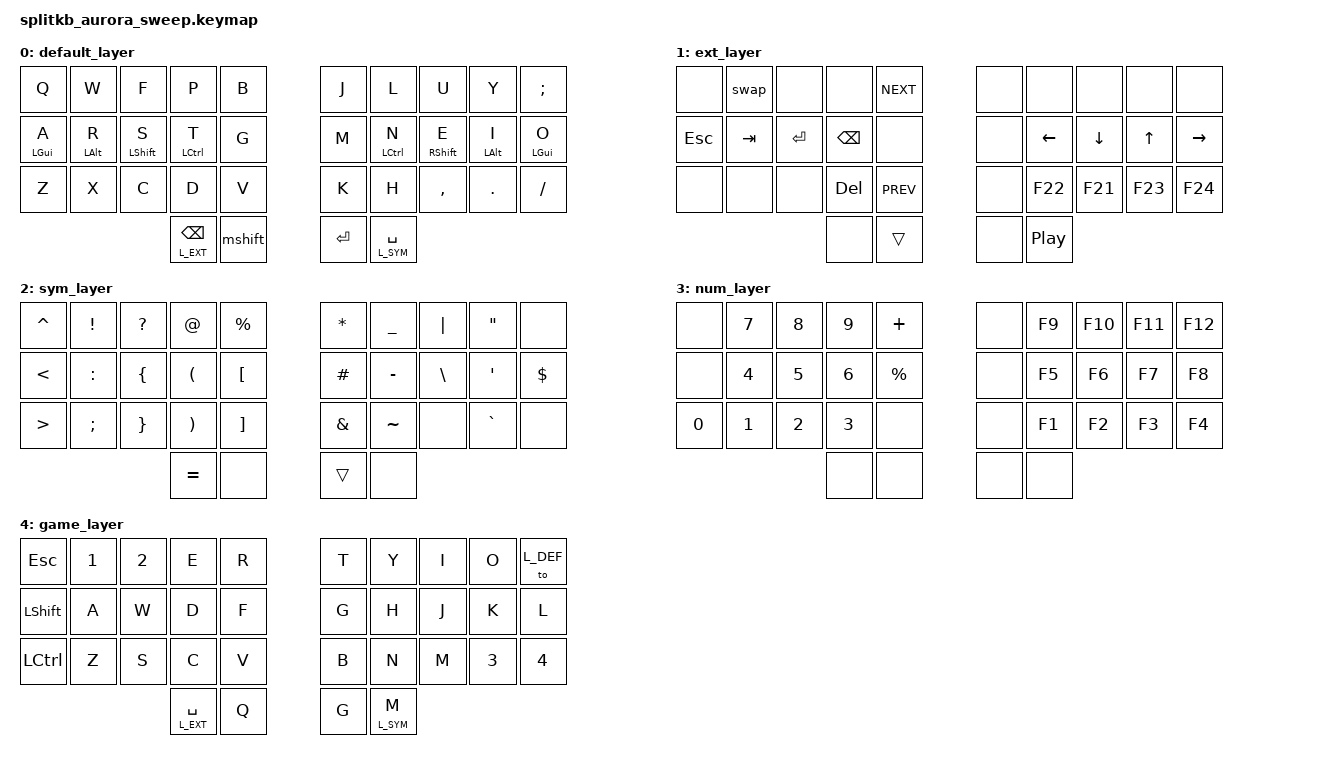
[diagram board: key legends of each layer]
#include <behaviors.dtsi>
#include <dt-bindings/zmk/keys.h>
#include <dt-bindings/zmk/bt.h>
#include <dt-bindings/zmk/outputs.h>
#include <behaviors/unicode.dtsi>

#define LT1 0
#define LT2 1
#define LT3 2
#define LT4 3
#define LT5 4
#define LM1 10
#define LM2 11
#define LM3 12
#define LM4 13
#define LM5 14
#define LB1 20
#define LB2 21
#define LB3 22
#define LB4 23
#define LB5 24
#define LC1 30
#define LC2 31
#define LEFT_KEYS LT1 LT2 LT3 LT4 LT5 LM1 LM2 LM3 LM4 LM5 LB1 LB2 LB3 LB4 LB5
#define LEFT_THUMBS LC1 LC2

#define RT1 9
#define RT2 8
#define RT3 7
#define RT4 6
#define RT5 5
#define RM1 19
#define RM2 18
#define RM3 17
#define RM4 16
#define RM5 15
#define RB1 29
#define RB2 28
#define RB3 27
#define RB4 26
#define RB5 25
#define RC1 33
#define RC2 32
#define RIGHT_KEYS RT1 RT2 RT3 RT4 RT5 RM1 RM2 RM3 RM4 RM5 RB1 RB2 RB3 RB4 RB5
#define RIGHT_THUMBS RC1 RC2

#define ALL_KEYS LEFT_KEYS RIGHT_KEYS
#define ALL_THUMBS LEFT_THUMBS RIGHT_THUMBS

#define L_DEF 0
#define L_EXT 1
#define L_SYM 2
#define L_NUM 3
#define L_GAM 4

#define DEADG F21
#define DEADA F22
#define DEADC F23
#define DEADD F24

&mt {
    // flavor = "tap-preferred";
    // tapping-term-ms = <200>;
};

&sk {
    release-after-ms = <2000>;
};

&uc {
    default-mode = <UC_MODE_LINUX>;
};

/ {
    behaviors {
        hml: home_row_mod_left {
            compatible = "zmk,behavior-hold-tap";
            #binding-cells = <2>;
            flavor = "balanced";
            require-prior-idle-ms = <160>;
            tapping-term-ms = <280>;
            quick-tap-ms = <175>;
            bindings = <&kp>, <&kp>;
            hold-trigger-key-positions = <RIGHT_KEYS ALL_THUMBS>;
            hold-trigger-on-release;
        };
        hmr: home_row_mod_right {
            compatible = "zmk,behavior-hold-tap";
            #binding-cells = <2>;
            flavor = "balanced";
            require-prior-idle-ms = <160>;
            tapping-term-ms = <280>;
            quick-tap-ms = <175>;
            bindings = <&kp>, <&kp>;
            hold-trigger-key-positions = <LEFT_KEYS ALL_THUMBS>;
            hold-trigger-on-release;
        };
        hmldr: home_row_mod_leader_left {
            compatible = "zmk,behavior-hold-tap";
            #binding-cells = <2>;
            flavor = "balanced";
            require-prior-idle-ms = <160>;
            tapping-term-ms = <280>;
            quick-tap-ms = <175>;
            bindings = <&kp>, <&leader>;
            hold-trigger-key-positions = <RIGHT_KEYS ALL_THUMBS>;
            hold-trigger-on-release;
        };


        mshift: magic_shift {
            compatible = "zmk,behavior-mod-morph";
            #binding-cells = <0>;
            bindings = <&sk LSHFT>, <&caps_word>;
            mods = <(MOD_LSFT)>;
        };

        leader: leader {
            compatible = "zmk,behavior-leader-key";
            #binding-cells = <0>;
            ignore-keys = <LSHFT RSHFT>;

            // Settings
            usb { sequence = <U S B>; bindings = <&out OUT_USB>; };
            ble { sequence = <B L E>; bindings = <&out OUT_BLE>; };

            bt0 { sequence = <B A>; bindings = <&bt BT_SEL 0>; }; // A -> 0
            bt1 { sequence = <B R>; bindings = <&bt BT_SEL 1>; }; // R -> 1
            bt2 { sequence = <B S>; bindings = <&bt BT_SEL 2>; }; // S -> 2
            bt3 { sequence = <B T>; bindings = <&bt BT_SEL 3>; }; // T -> 3
            btc { sequence = <B C L R>; bindings = <&bt BT_CLR>; };

            macos { sequence = <S M A C>; bindings = <&uc UC_SET_MACOS>; };
            windows { sequence = <S W I N>; bindings = <&uc UC_SET_WIN_ALT>; };
            linux { sequence = <S L I N U X>; bindings = <&uc UC_SET_LINUX>; };
            emacs { sequence = <S E M A C S>; bindings = <&uc UC_SET_EMACS>; };

            // Management
            boot { sequence = <B O O T>; bindings = <&bootloader>; };
            reset { sequence = <R E S E T>; bindings = <&sys_reset>; };
            soft_off { sequence = < O F F>; bindings = <&soft_off>; };

            // Layers
            game { sequence = <L G A M E>; bindings = <&to L_GAM>; };

            // Accents
            ae { sequence = <A E>; bindings = <&uc UC_FR_AE>; };
            oe { sequence = <O E>; bindings = <&uc UC_FR_OE>; };
            ss { sequence = <S S>; bindings = <&uc UC_DE_SS>; };

            // Currencies
            cent { sequence = <C C E N T>; bindings = <&uc UC_CURR_CENT>; };
            pound { sequence = <C P O U N D>; bindings = <&uc UC_CURR_POUND>; };
            yen { sequence = <C Y E N>; bindings = <&uc UC_CURR_YEN>; };
            yuan { sequence = <C Y U A N>; bindings = <&uc UC_CURR_YEN>; };
            rmb { sequence = <C R M B>; bindings = <&uc UC_CURR_YEN>; };
            won { sequence = <C W O N>; bindings = <&uc UC_CURR_WON>; };
            euro { sequence = <C E U R O>; bindings = <&uc UC_CURR_EURO>; };
            ruble { sequence = <C R U B L E>; bindings = <&uc UC_CURR_RUBLE>; };
            turkish_lira { sequence = <C L I R A>; bindings = <&uc UC_CURR_TURKISH_LIRA>; };
        };

        swap: swapper {
            compatible = "zmk,behavior-tri-state";
            #binding-cells = <0>;
            bindings = <&kt LALT>, <&kp TAB>, <&kt LALT>;
        };

        lques: logical_shifted_question {
            compatible = "zmk,behavior-mod-morph";
            #binding-cells = <0>;
            bindings = <&kp QMARK>, <&kp EXCL>;
            mods = <(MOD_LSFT)>;
        };

        ak_e: ak_e {
            compatible = "zmk,behavior-adaptive-key";
            #binding-cells = <0>;
            bindings = <&kp E>;
            dead-keys = <DEADG DEADA DEADC DEADD>;

            grave { trigger-keys = <DEADG>; bindings = <&uc UC_FR_E_GRAVE>; };
            acute { trigger-keys = <DEADA>; bindings = <&uc UC_FR_E_ACUTE>; };
            circumflex { trigger-keys = <DEADC>; bindings = <&uc UC_FR_E_CIRCUMFLEX>; };
            diaeresis { trigger-keys = <DEADD>; bindings = <&uc UC_FR_E_DIAERESIS>; };
        };
    };

    combos {
        compatible = "zmk,combos";
        leader_left {
            timeout-ms = <30>;
            key-positions = <LM3 LM4>;
            layers = <0>;
            bindings = <&hmldr LS(LCTRL) 0>;
            require-prior-idle-ms = <150>;
        };
        tab {
            timeout-ms = <30>;
            key-positions = <LM2 LM3>;
            layers = <0>;
            bindings = <&hml LA(LSHFT) TAB>;
            require-prior-idle-ms = <100>;
        };

        esc {
            timeout-ms = <30>;
            key-positions = <LT2 LT3>;
            layers = <0>;
            bindings = <&kp ESC>;
            require-prior-idle-ms = <100>;
        };

        copy {
            timeout-ms = <30>;
            key-positions = <LB2 LB3>;
            layers = <0>;
            bindings = <&kp LC(C)>;
            require-prior-idle-ms = <100>;
        };
        paste {
            timeout-ms = <30>;
            key-positions = <LB3 LB4>;
            layers = <0>;
            bindings = <&kp LC(V)>;
            require-prior-idle-ms = <100>;
        };
        cut {
            timeout-ms = <30>;
            key-positions = <LB2 LB4>;
            layers = <0>;
            bindings = <&kp LC(X)>;
            require-prior-idle-ms = <100>;
        };

        num_layer_thumbs {
            timeout-ms = <30>;
            key-positions = <LC1 RC1>;
            layers = <0>;
            bindings = <&mo L_NUM>;
            require-prior-idle-ms = <100>;
        };
    };

    conditional_layers {
        compatible = "zmk,conditional-layers";
    };

    keymap {
        compatible = "zmk,keymap";

        default_layer {
            bindings = <
                &kp Q       &kp W       &kp F        &kp P        &kp B                      &kp J &kp L         &kp U        &kp Y       &kp SEMI
                &hml LGUI A &hml LALT R &hml LSHFT S &hml LCTRL T &kp G                      &kp M &hmr LCTRL N  &hmr RSHFT E &hmr LALT I &hmr LGUI O
                &kp Z       &kp X       &kp C        &kp D        &kp V                      &kp K &kp H         &kp COMMA    &kp DOT     &kp SLASH
                                                   &lt L_EXT BSPC &mshift                  &kp ENTER &lt L_SYM SPACE
            >;
        };

        ext_layer {
            bindings = <
                &none   &swap   &none     &none    &kp C_NEXT                      &none &none     &none     &none     &none
                &kp ESC &kp TAB &kp ENTER &kp BSPC &none                           &none &kp LEFT  &kp DOWN  &kp UP    &kp RIGHT
                &none   &none   &none     &kp DEL  &kp C_PREV                      &none &kp DEADA &kp DEADG &kp DEADC &kp DEADD
                                                  &none  &trans                  &none &kp C_PP
            >;
        };

        sym_layer {
            bindings = <
                &kp CARET  &kp EXCL  &kp QMARK &kp AT    &kp PRCNT                     &kp ASTRK &kp UNDER &kp PIPE &kp DQT   &none
                &kp LT     &kp COLON &kp LBRC  &kp LPAR  &kp LBKT                      &kp HASH  &kp MINUS &kp BSLH &kp SQT   &kp DLLR
                &kp GT     &kp SEMI  &kp RBRC  &kp RPAR  &kp RBKT                      &kp AMPS  &kp TILDE &none    &kp GRAVE &none
                                                    &kp EQUAL &none                 &trans  &none
            >;
        };

        num_layer {
            bindings = <
                &none  &kp N7 &kp N8 &kp N9 &kp PLUS                       &none &kp F9 &kp F10 &kp F11 &kp F12
                &none  &kp N4 &kp N5 &kp N6 &kp PRCNT                      &none &kp F5 &kp F6  &kp F7  &kp F8
                &kp N0 &kp N1 &kp N2 &kp N3 &none                          &none &kp F1 &kp F2  &kp F3  &kp F4
                                            &none &none                  &none &none
            >;
        };

        game_layer {
            bindings = <
                &kp ESC   &kp N1 &kp N2 &kp E &kp R                      &kp T &kp Y &kp I &kp O  &to L_DEF
                &kp LSHFT &kp A  &kp W  &kp D &kp F                      &kp G &kp H &kp J &kp K  &kp L
                &kp LCTRL &kp Z  &kp S  &kp C &kp V                      &kp B &kp N &kp M &kp N3 &kp N4
                                &lt L_EXT SPACE &kp Q                  &kp G &lt L_SYM M // grenade and map often are G/M
            >;
        };
    };
};
